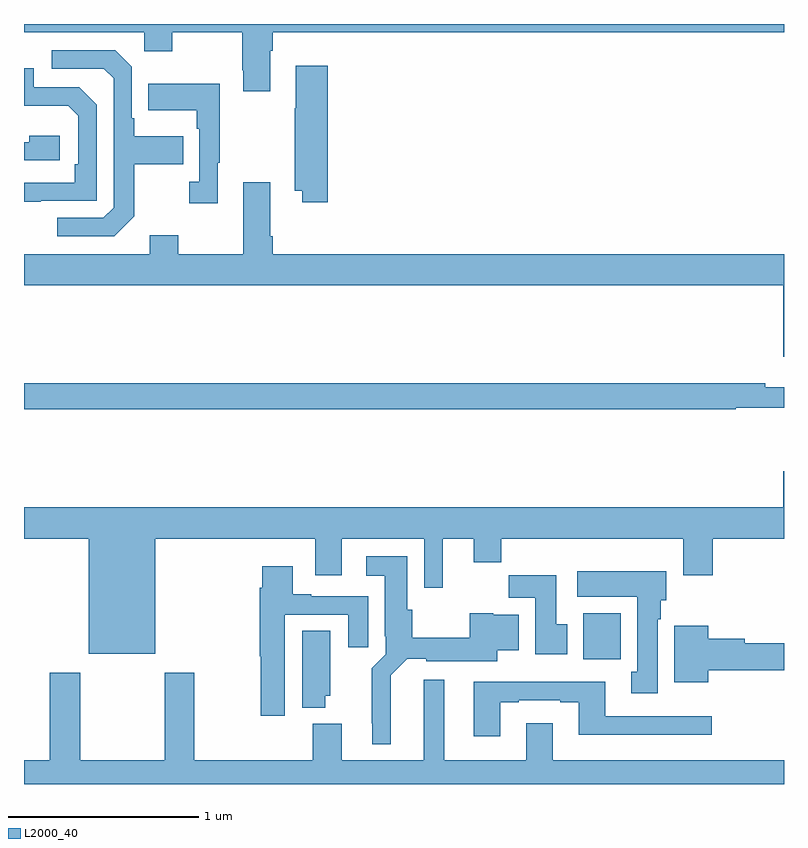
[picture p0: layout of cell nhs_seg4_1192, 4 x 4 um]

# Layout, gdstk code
import gdstk
lib = gdstk.Library(unit=1e-6, precision=1e-09)
def R(c, l, rs):  # rectangles x0, y0, x1, y1
    for r in rs: c.add(gdstk.rectangle(r[:2], r[2:], *l))
def P(c, l, *ps):  # polygons
    for p in ps: c.add(gdstk.Polygon(p, *l))
L2000_40 = (2000, 40)

nhs_seg4_1192 = lib.new_cell('nhs_seg4_1192')
R(nhs_seg4_1192, L2000_40, [(175.943,757.556,176.14,757.798)])
P(nhs_seg4_1192, L2000_40, [(174.295,760.76),(174.308,760.76),(174.308,760.856),(177,760.856),(177,760.9),(173,760.9),(173,760.856),(173.634,760.856),(173.634,760.757),(173.781,760.757),(173.781,760.856),(174.148,760.856),(174.148,760.657),(174.155,760.657),(174.155,760.545),(174.295,760.545)],
  [(173.581,759.889),(173.581,760.162),(173.837,760.162),(173.837,760.309),(173.581,760.309),(173.581,760.405),(173.568,760.405),(173.568,760.674),(173.481,760.761),(173.145,760.761),(173.145,760.665),(173.421,760.665),(173.472,760.614),(173.472,759.933),(173.418,759.879),(173.175,759.879),(173.175,759.783),(173.475,759.783)],
  [(174.599,760.681),(174.431,760.681),(174.431,760.457),(174.424,760.457),(174.424,760.022),(174.464,760.022),(174.464,759.963),(174.599,759.963)],
  [(173.087,759.969),(173.382,759.969),(173.382,760.476),(173.292,760.566),(173.052,760.566),(173.052,760.668),(173,760.668),(173,760.469),(173.233,760.469),(173.286,760.416),(173.286,760.162),(173.266,760.162),(173.266,760.065),(173,760.065),(173,759.964),(173.087,759.964)],
  [(174.019,760.169),(174.031,760.169),(174.031,760.585),(173.653,760.585),(173.653,760.445),(173.91,760.445),(173.91,760.349),(173.922,760.349),(173.922,760.07),(173.871,760.07),(173.871,759.957),(174.019,759.957)],
  [(173.188,760.312),(173.027,760.312),(173.027,760.278),(173,760.278),(173,760.182),(173.188,760.182)],
  [(177,759.688),(174.308,759.688),(174.308,759.784),(174.295,759.784),(174.295,760.066),(174.155,760.066),(174.155,759.688),(173.811,759.688),(173.811,759.787),(173.663,759.787),(173.663,759.688),(173,759.688),(173,759.524),(176.996,759.524),(176.996,759.15),(177,759.15)],
  [(176.746,758.88),(177,758.88),(177,758.989),(176.9,758.989),(176.9,759.008),(173,759.008),(173,758.872),(176.746,758.872)],
  [(173.692,758.192),(174.533,758.192),(174.533,757.998),(174.673,757.998),(174.673,758.192),(175.107,758.192),(175.107,757.932),(175.204,757.932),(175.204,758.192),(175.367,758.192),(175.367,758.068),(175.511,758.068),(175.511,758.192),(176.471,758.192),(176.471,757.998),(176.624,757.998),(176.624,758.192),(177,758.192),(177,758.545),(176.996,758.545),(176.996,758.356),(173,758.356),(173,758.192),(173.342,758.192),(173.342,757.586),(173.692,757.586)],
  [(174.931,757.472),(175.017,757.559),(175.116,757.559),(175.116,757.547),(175.492,757.547),(175.492,757.604),(175.603,757.604),(175.603,757.792),(175.47,757.792),(175.47,757.798),(175.345,757.798),(175.345,757.669),(175.044,757.669),(175.044,757.818),(175.018,757.818),(175.018,758.098),(174.801,758.098),(174.801,757.997),(174.899,757.997),(174.899,757.678),(174.903,757.678),(174.903,757.584),(174.829,757.51),(174.829,757.219),(174.833,757.219),(174.833,757.109),(174.931,757.109)],
  [(174.373,757.791),(174.707,757.791),(174.707,757.62),(174.811,757.62),(174.811,757.887),(174.511,757.887),(174.511,757.9),(174.415,757.9),(174.415,758.047),(174.254,758.047),(174.254,757.934),(174.242,757.934),(174.242,757.572),(174.247,757.572),(174.247,757.26),(174.373,757.26)],
  [(176.335,757.766),(176.35,757.766),(176.35,757.866),(176.38,757.866),(176.38,758.02),(175.911,758.02),(175.911,757.886),(176.228,757.886),(176.228,757.49),(176.195,757.49),(176.195,757.377),(176.335,757.377)],
  [(175.858,757.74),(175.801,757.74),(175.801,757.999),(175.552,757.999),(175.552,757.88),(175.691,757.88),(175.691,757.584),(175.858,757.584)],
  [(176.602,757.498),(177,757.498),(177,757.64),(176.794,757.64),(176.794,757.665),(176.602,757.665),(176.602,757.732),(176.423,757.732),(176.423,757.436),(176.602,757.436)],
  [(174.586,757.365),(174.613,757.365),(174.613,757.706),(174.464,757.706),(174.464,757.301),(174.586,757.301)],
  [(177,757.024),(175.783,757.024),(175.783,757.219),(175.643,757.219),(175.643,757.024),(175.213,757.024),(175.213,757.45),(175.103,757.45),(175.103,757.024),(174.673,757.024),(174.673,757.216),(174.521,757.216),(174.521,757.024),(173.895,757.024),(173.895,757.486),(173.74,757.486),(173.74,757.024),(173.295,757.024),(173.295,757.486),(173.135,757.486),(173.135,757.024),(173,757.024),(173,756.9),(177,756.9)],
  [(175.507,757.329),(175.603,757.329),(175.603,757.341),(175.823,757.341),(175.823,757.329),(175.919,757.329),(175.919,757.16),(176.62,757.16),(176.62,757.257),(176.059,757.257),(176.059,757.438),(175.367,757.438),(175.367,757.152),(175.507,757.152)])

lib.write_gds('nhs_seg4_1192.gds')
